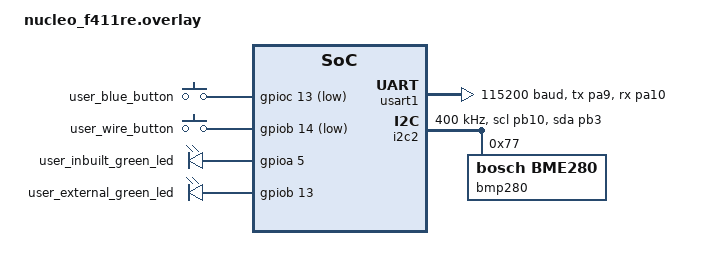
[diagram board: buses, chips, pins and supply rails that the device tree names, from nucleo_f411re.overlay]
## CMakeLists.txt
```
cmake_minimum_required(VERSION 3.22)
set(BOARD nucleo_f411re)
find_package(Zephyr)
project(2gpio_2)

target_sources(app PRIVATE
    src/main.c
    src/esp8266_init.c
    src/my_dts_init.c
    src/uart1_handler.c
    src/thread_creation.c
    src/bmp280.c 
)
```

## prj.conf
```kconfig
CONFIG_SERIAL=y
CONFIG_UART_INTERRUPT_DRIVEN=y
CONFIG_UART_ASYNC_API=n
CONFIG_DMA=n

CONFIG_UART_STM32=y
CONFIG_I2C=y


CONFIG_SENSOR=y
CONFIG_BME280=y
```

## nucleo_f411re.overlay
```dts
///dts-v1/;
/ {
	#address-cells = <1>; 
	#size-cells = <1>;
    gpio_keys {
        compatible = "gpio-keys";

        label_blue_button: node_blue_button {
            gpios = <&gpioc 13 GPIO_ACTIVE_LOW>;
            label = "user_blue_button";
            zephyr,code = <INPUT_KEY_1>;
        };

        label_wire_button: node_wire_button {
            gpios = <&gpiob 14 GPIO_ACTIVE_LOW>;
            label = "user_wire_button";
            zephyr,code = <INPUT_KEY_2>;
        };
    };

    leds {
        compatible = "gpio-leds";

        label_inbuilt_green_led: node_inbuilt_green_led {
            gpios = <&gpioa 5 GPIO_ACTIVE_HIGH>;
            label = "user_inbuilt_green_led";
        };

        label_external_green_led: node_external_green_led {
            gpios = <&gpiob 13 GPIO_ACTIVE_HIGH>;
            label = "user_external_green_led";
        };
    };
    aliases {
        sw1 = &label_blue_button;
        sw2 = &label_wire_button;
        led0 = &label_inbuilt_green_led;
        led1 = &label_external_green_led;
    };
};
/* --- UART1 configuration --- */
&usart1 {
    status = "okay";
    current-speed = <115200>;
    pinctrl-names = "default";
    pinctrl-0 = <&usart1_tx_pa9 &usart1_rx_pa10>;
};

/*&i2c2 {
    pinctrl-0 = <&i2c2_scl_pb10 &i2c2_sda_pb3>;
    pinctrl-names = "default";
    status = "okay";
    clock-frequency = <I2C_BITRATE_FAST>;
};*/
/* I2C2 — FULL CONFIGURATION (missing in your overlay) */
&i2c2 {
    pinctrl-0 = <&i2c2_scl_pb10 &i2c2_sda_pb3>;
    pinctrl-names = "default";
    status = "okay";
    clock-frequency = <I2C_BITRATE_FAST>;

    bmp280: bmp280@77 {
        compatible = "bosch,bme280";  /* Works for BMP280 */
        reg = <0x77>;
        status = "okay";
    };
};
```

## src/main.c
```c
#include <string.h>
#include "esp8266_init.h"
#include "uart1_handler.h"
#include <zephyr/kernel.h>
#include "thread_creation.h"
#include "my_dts_init.h"
    int main(void)
    {
        gpio_app_init(); 
        uart1_init();
        create_thread();
        while (1) 
        {
            k_msleep(1000);
        }
        return 0;
    }
```

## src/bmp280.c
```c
#include <zephyr/kernel.h>
#include <zephyr/drivers/sensor.h>
#include <zephyr/device.h>
#include <zephyr/devicetree.h>
#include <zephyr/sys/printk.h>
#include <zephyr/drivers/i2c.h>
#include "thread_creation.h"
/* Sensor node */
#define BMP_NODE DT_NODELABEL(bmp280)
static const struct device *bmp280 = DEVICE_DT_GET(BMP_NODE);

/* Get I2C controller (parent of bmp280) */
#define I2C_NODE DT_PARENT(BMP_NODE)
static const struct device *i2c_bus = DEVICE_DT_GET(I2C_NODE);

void bmp280_read_values(void *p1, void *p2, void *p3)
{
    k_sem_take(&pbm280_sem, K_FOREVER);
    ARG_UNUSED(p1);
    ARG_UNUSED(p2);
    ARG_UNUSED(p3);

    struct sensor_value temp, press;

    /* Check device readiness */
    if (!device_is_ready(i2c_bus)) {
        printk("I2C bus not ready\n");
        return;
    }

    if (!device_is_ready(bmp280)) {
        printk("BMP280 device not ready\n");
        return;
    }

    printk("=== I2C SCANNER START ===\n");

    /* ---------- I2C SCAN ---------- */
    for (uint8_t addr = 1; addr < 127; addr++) 
    {
        uint8_t dummy;
        int ret = i2c_read(i2c_bus, &dummy, 1, addr);

        if (ret == 0) {
            printk("Found I2C device at 0x%02X\n", addr);
        }
    }

    printk("=== I2C SCAN COMPLETE ===\n");

    /* ---------- BMP280 LOOP ---------- */
    while (1) 
    {
        if (sensor_sample_fetch(bmp280) == 0) 
        {
            sensor_channel_get(bmp280, SENSOR_CHAN_AMBIENT_TEMP, &temp);
            sensor_channel_get(bmp280, SENSOR_CHAN_PRESS, &press);

            printk("T = %d.%06d C | P = %d.%06d kPa\n",
                   temp.val1, temp.val2,
                   press.val1, press.val2);
        } 
        else 
        {
            printk("BMP280 sample fetch failed\n");
        }

        k_msleep(1000);
    }
}
```

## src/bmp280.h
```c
#ifndef BMP280_H
#define BMP280_H
#define BMP280_I2C_ADDR 0x77
void bmp280_read_values(void *p1, void *p2, void *p3);
#endif
```

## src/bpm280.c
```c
#include"bpm280.h"
```

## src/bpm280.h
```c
#ifndef BPM280_H
#define BPM280_H
#include <zephyr/device.h>
#include <zephyr/drivers/i2c.h> 
#define BPM280_I2C_ADDR 0x77
#endif
```

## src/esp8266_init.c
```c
#include <zephyr/kernel.h>
#include <zephyr/drivers/uart.h>
#include <string.h>
#include "esp8266_init.h"
#include "thread_creation.h"
const struct device *uart1_dev;

unsigned int at_command_send(unsigned char *cmd)
 {
    while (*cmd) 
    {
        uart_poll_out(uart1_dev, *cmd++);
    }
    return 0;
 }

void init_nodemcu8266_module(void *p1, void *p2, void *p3)
{
        //at_command_send("AT+CIPMUX=0\r\n");
        //k_msleep(5000);
        //at_command_send("AT+CIPCLOSE\r\n");
        //k_msleep(10000);

    //#define mobile_hotspot
    #define lyptus_wifi

        /*at_command_send("AT\r\n");
        k_msleep(2000);
        at_command_send("AT+GMR\r\n");
        k_msleep(2000); 
        at_command_send("AT+CWMODE=1\r\n");
        k_msleep(2000);
        at_command_send("AT+CWLAP\r\n");
        k_msleep(6000);
        */
#ifdef mobile_hotspot
        at_command_send("AT+CWJAP=\"POCO\",\"Aaaaaa1.\"\r\n");
#endif
#ifdef lyptus_wifi
        at_command_send("AT+CWJAP=\"Lyptus-Tech\",\"L#@!4Tech\"\r\n");
#endif
        k_msleep(10000);
       // at_command_send("AT+CIFSR\r\n");
        //k_msleep(5000);
        //at_command_send("AT+GMR\r\n");
        //k_msleep(6000);
        //at_command_send("AT+CIPSTART=\"SSL\",\"0b70db84ddf14cfe9d3508a868ec097a.s1.eu.hivemq.cloud\",8883\r\n");
        //at_command_send("AT+CIPSTART=\"TCP\",\"test.mosquitto.org\",1883\r\n");
        //at_command_send("AT+CIPSTART=\"TCP\",\"test.mosquitto.org\",1883\r\n");
        //at_command_send("AT+CIPSTART=\"SSL\",\"broker.hivemq.com\",8883\r\n");
        //at_command_send("AT+CIPSTART=\"TCP\",\"test.mosquitto.org\",1883\r\n");
        //at_command_send("AT+CIPSTART=\"TCP\",\"broker.emqx.io\",1883\r\n");
        //at_command_send("AT+CIPSTART=\"TCP\",\"18.194.14.62\",1883\r\n");



        k_sem_give(&pbm280_sem);
    while (1)
    {
               k_msleep(2000);    
    }
}
```

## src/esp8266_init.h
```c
#ifndef ESP8266_INIT_H
#define ESP8266_INIT_H
extern const struct device *uart1_dev;
void init_nodemcu8266_module(void *p1, void *p2, void *p3);
unsigned int at_command_send(unsigned char *cmd);
#endif
```

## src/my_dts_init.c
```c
#include <zephyr/device.h>
#include <zephyr/devicetree.h>
#include <zephyr/kernel.h>
#include <zephyr/drivers/gpio.h>

/* Existing GPIO aliases (unchanged) */
#define SW1_BUTTON_NODE DT_ALIAS(sw1)
#define SW2_BUTTON_NODE DT_ALIAS(sw2)
#define LED0_NODE       DT_ALIAS(led0)
#define LED1_NODE       DT_ALIAS(led1)



/* Get GPIO device and pin configuration from device tree */
const struct gpio_dt_spec sw1button = GPIO_DT_SPEC_GET(SW1_BUTTON_NODE, gpios);
const struct gpio_dt_spec sw2button = GPIO_DT_SPEC_GET(SW2_BUTTON_NODE, gpios);
const struct gpio_dt_spec led0      = GPIO_DT_SPEC_GET(LED0_NODE, gpios);
const struct gpio_dt_spec led1      = GPIO_DT_SPEC_GET(LED1_NODE, gpios);



int gpio_app_init(void)
{
    int ret;

    if (!gpio_is_ready_dt(&sw1button)) {
        printk("SW1 GPIO not ready\n");
        return -ENODEV;
    }
    if (!gpio_is_ready_dt(&sw2button)) {
        printk("SW2 GPIO not ready\n");
        return -ENODEV;
    }
    if (!gpio_is_ready_dt(&led0)) {
        printk("LED0 GPIO not ready\n");
        return -ENODEV;
    }
    if (!gpio_is_ready_dt(&led1)) {
        printk("LED1 GPIO not ready\n");
        return -ENODEV;
    }

    ret = gpio_pin_configure_dt(&sw1button, GPIO_INPUT);
    if (ret < 0) return ret;

    ret = gpio_pin_configure_dt(&sw2button, GPIO_INPUT);
    if (ret < 0) return ret;

    ret = gpio_pin_configure_dt(&led0, GPIO_OUTPUT);
    if (ret < 0) return ret;

    ret = gpio_pin_configure_dt(&led1, GPIO_OUTPUT);
    if (ret < 0) return ret;

    printk("GPIO initialization done.\n");
    return 0;
}
```

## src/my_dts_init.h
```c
#ifndef MY_DTS_INIT_H
#define MY_DTS_INIT_H

/*
dec: initialize all ports
ret: void
*/
int gpio_app_init(void);
int i2c1_init(void);
#endif /* MY_DTS_INIT_H */
```

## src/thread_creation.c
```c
#include <zephyr/kernel.h>
#include "thread_creation.h"
#include "esp8266_init.h"
#include "bmp280.h"

/* Thread stack */
K_THREAD_STACK_DEFINE(nodemcu8266_stack, NODEMCU8266_THREAD_STACK);
K_THREAD_STACK_DEFINE(bpm280_stack, BPM280_THREAD_STACK);
/* Semaphore for data synchronization */
K_SEM_DEFINE(pbm280_sem, 0, 1);
/* Thread control block */
static struct k_thread nodemcu8266_thread;
static struct k_thread bpm280_thread;
unsigned int create_thread(void)
{
    /* Create WiFi init thread */
k_thread_create(
    &nodemcu8266_thread,                 // Thread control block (k_thread object)
    nodemcu8266_stack,                   // Pointer to thread stack memory
    K_THREAD_STACK_SIZEOF(nodemcu8266_stack),  // Size of the stack
    init_nodemcu8266_module,             // Thread entry function
    NULL, NULL, NULL,                    // Arguments passed to the entry function
    NODEMCU8266_THREAD_PRIO,             // Thread priority
    0,                                   // Thread options (e.g., cooperativity)
    K_NO_WAIT                            // Start immediately after creation
);
    /* Create BMP280 read thread */
k_thread_create(
    &bpm280_thread,                      // Thread control block (k_thread object)
    bpm280_stack,                        // Pointer to thread stack memory
    K_THREAD_STACK_SIZEOF(bpm280_stack), // Size of the stack
    bmp280_read_values,                  // Thread entry function
    NULL, NULL, NULL,                    // Arguments passed to the entry function
    BPM280_THREAD_PRIO,                  // Thread priority
    0,                                   // Thread options (e.g., cooperativity)
    K_NO_WAIT                            // Start immediately after creation
);
    return 0;
}
```

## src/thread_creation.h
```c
#ifndef THREAD_CREATION_H
#define THREAD_CREATION_H

#define NODEMCU8266_THREAD_STACK 1024
#define NODEMCU8266_THREAD_PRIO  2
#define BPM280_THREAD_STACK 1024
#define BPM280_THREAD_PRIO  1

unsigned int create_thread(void);
extern struct k_sem pbm280_sem;

#endif
```

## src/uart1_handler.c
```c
#include <zephyr/kernel.h>
#include <zephyr/device.h>
#include <zephyr/drivers/uart.h>
#include <zephyr/sys/printk.h>

#include "uart1_handler.h"

#define UART1_NODE DT_NODELABEL(usart1)


/* --- UART ISR --- */
static void uart1_isr(const struct device *dev, void *user_data)
{
    ARG_UNUSED(user_data);

    if (!uart_irq_update(dev)) {
        return;
    }

    if (uart_irq_rx_ready(dev)) {
        uint8_t c;
        int len = uart_fifo_read(dev, &c, 1);
        if (len > 0) {
            printk("%c", c);   // Or push to ring buffer etc.
        }
    }
}

/* --- PUBLIC INIT FUNCTION --- */
void uart1_init(void)
{
    uart1_dev = DEVICE_DT_GET(UART1_NODE);

    if (!device_is_ready(uart1_dev)) {
        printk("UART1 not ready!\n");
        return;
    }

    uart_irq_callback_user_data_set(uart1_dev, uart1_isr, NULL);
    uart_irq_rx_enable(uart1_dev);

    printk("UART1 IRQ enabled.\n");
}
```

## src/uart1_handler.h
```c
#ifndef UART1_HANDLER_H
#define UART1_HANDLER_H

#include <zephyr/device.h>
#include <zephyr/drivers/uart.h>

void uart1_init(void);
extern const struct device *uart1_dev;


#endif // UART1_HANDLER_H
```
